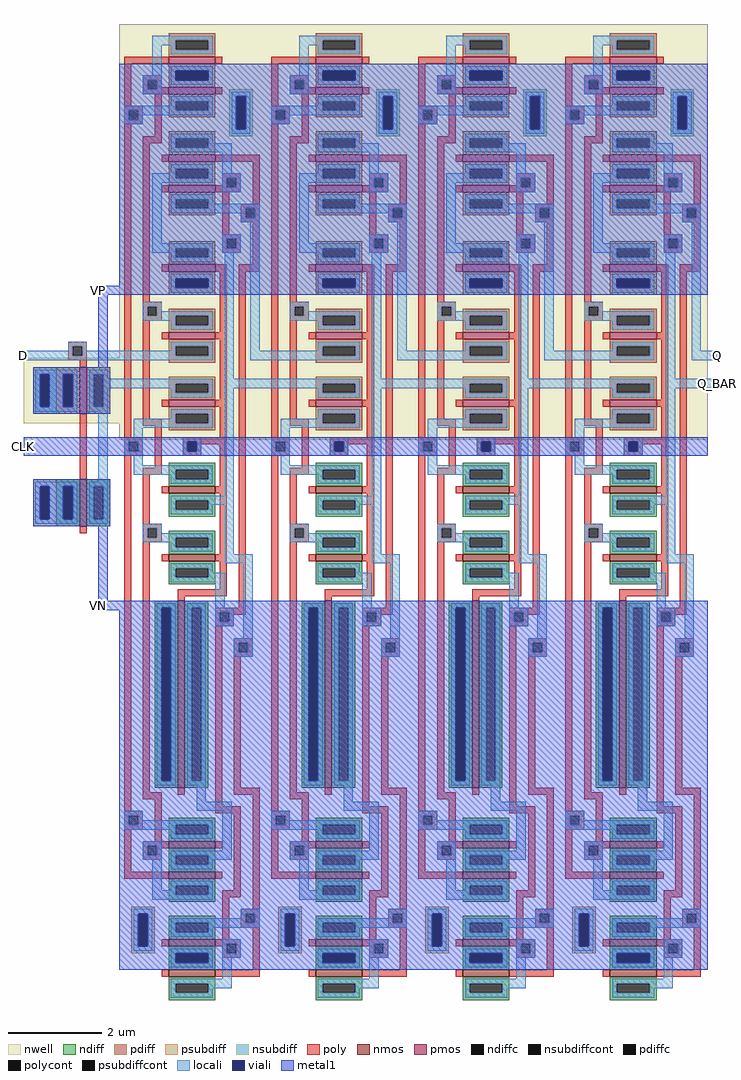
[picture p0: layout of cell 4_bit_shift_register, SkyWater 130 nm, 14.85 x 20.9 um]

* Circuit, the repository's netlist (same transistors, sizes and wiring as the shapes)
* NGSPICE file created from 4_bit_shift_register.ext - technology: sky130A

.subckt crsl_d_flip_flop D D_BAR Q Q_BAR VP VN CLK
X0 VP a_n70_n2490# a_n150_n2570# VP sky130_fd_pr__pfet_01v8 ad=0.25 pd=1.5 as=0.5 ps=3 w=1 l=0.15
X1 a_n150_n2570# CLK Q_BAR VN sky130_fd_pr__nfet_01v8 ad=0.5 pd=3 as=0.5 ps=3 w=1 l=0.15
X2 a_n70_n2490# CLK Q VN sky130_fd_pr__nfet_01v8 ad=0.5 pd=3 as=0.5 ps=3 w=1 l=0.15
X3 D_BAR CLK a_n150_n2570# VP sky130_fd_pr__pfet_01v8 ad=0.5 pd=3 as=0.5 ps=3 w=1 l=0.15
X4 a_40_n2540# CLK VN VN sky130_fd_pr__nfet_01v8 ad=2 pd=9 as=2 ps=9 w=4 l=0.15
X5 a_40_60# CLK VP VP sky130_fd_pr__pfet_01v8 ad=0.5 pd=3 as=0.5 ps=3 w=1 l=0.15
X6 a_40_n2540# a_n150_n2570# a_n70_n2490# VN sky130_fd_pr__nfet_01v8 ad=0.25 pd=1.5 as=0.5 ps=3 w=1 l=0.15
X7 Q_BAR Q a_40_60# VP sky130_fd_pr__pfet_01v8 ad=0.5 pd=3 as=0.25 ps=1.5 w=1 l=0.15
X8 VN Q_BAR Q VN sky130_fd_pr__nfet_01v8 ad=0.25 pd=1.5 as=0.5 ps=3 w=1 l=0.15
X9 a_n70_n2490# a_n150_n2570# VP VP sky130_fd_pr__pfet_01v8 ad=0.5 pd=3 as=0.25 ps=1.5 w=1 l=0.15
X10 a_n150_n2570# a_n70_n2490# a_40_n2540# VN sky130_fd_pr__nfet_01v8 ad=0.5 pd=3 as=0.25 ps=1.5 w=1 l=0.15
X11 Q_BAR Q VN VN sky130_fd_pr__nfet_01v8 ad=0.5 pd=3 as=0.25 ps=1.5 w=1 l=0.15
X12 a_n70_n2490# CLK D VP sky130_fd_pr__pfet_01v8 ad=0.5 pd=3 as=0.5 ps=3 w=1 l=0.15
X13 a_40_60# Q_BAR Q VP sky130_fd_pr__pfet_01v8 ad=0.25 pd=1.5 as=0.5 ps=3 w=1 l=0.15
.ends

.subckt inverter A Y VP VN
X0 Y A VN VN sky130_fd_pr__nfet_01v8 ad=0.5 pd=3 as=0.5 ps=3 w=1 l=0.15
X1 Y A VP VP sky130_fd_pr__pfet_01v8 ad=0.5 pd=3 as=0.5 ps=3 w=1 l=0.15
.ends


* Top level circuit 4_bit_shift_register

Xcrsl_d_flip_flop_0 inverter_0/A inverter_0/Y crsl_d_flip_flop_1/D crsl_d_flip_flop_1/D_BAR
+ VP VN CLK crsl_d_flip_flop
Xcrsl_d_flip_flop_1 crsl_d_flip_flop_1/D crsl_d_flip_flop_1/D_BAR crsl_d_flip_flop_2/D
+ crsl_d_flip_flop_2/D_BAR VP VN CLK crsl_d_flip_flop
Xinverter_0 inverter_0/A inverter_0/Y VP VN inverter
Xcrsl_d_flip_flop_2 crsl_d_flip_flop_2/D crsl_d_flip_flop_2/D_BAR crsl_d_flip_flop_3/D
+ crsl_d_flip_flop_3/D_BAR VP VN CLK crsl_d_flip_flop
Xcrsl_d_flip_flop_3 crsl_d_flip_flop_3/D crsl_d_flip_flop_3/D_BAR Q Q_BAR VP VN CLK
+ crsl_d_flip_flop
.end

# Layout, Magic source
magic
tech sky130A
<< locali >>
rect -75 1335 -5 1355
rect 1255 1335 1275 1355
rect -30 1275 -5 1295
rect 1255 1275 1275 1295
<< metal1 >>
rect -50 1475 -5 1495
rect -50 1320 -30 1475
rect -210 1130 -5 1170
rect -50 820 -30 980
rect -50 800 -5 820
use crsl_d_flip_flop  crsl_d_flip_flop_0
transform 1 0 80 0 1 1510
box -85 -1545 230 545
use crsl_d_flip_flop  crsl_d_flip_flop_1
transform 1 0 395 0 1 1510
box -85 -1545 230 545
use crsl_d_flip_flop  crsl_d_flip_flop_2
transform 1 0 710 0 1 1510
box -85 -1545 230 545
use crsl_d_flip_flop  crsl_d_flip_flop_3
transform 1 0 1025 0 1 1510
box -85 -1545 230 545
use inverter  inverter_0
transform 1 0 -95 0 1 1075
box -115 -110 90 300
<< labels >>
rlabel metal1 -50 1485 -50 1485 7 VP
rlabel metal1 -50 810 -50 810 7 VN
rlabel metal1 -210 1150 -210 1150 7 CLK
rlabel locali 1275 1285 1275 1285 3 Q_BAR
rlabel locali 1275 1345 1275 1345 3 Q
rlabel space -210 1345 -210 1345 7 D
<< end >>

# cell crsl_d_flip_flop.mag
magic
tech sky130A
<< nwell >>
rect -85 -345 230 545
<< nmos >>
rect 20 -460 120 -445
rect 20 -605 120 -590
rect 40 -1090 55 -690
rect 20 -1220 120 -1205
rect 20 -1285 120 -1270
rect 20 -1430 120 -1415
rect 20 -1495 120 -1480
<< pmos >>
rect 20 460 120 475
rect 20 395 120 410
rect 20 250 120 265
rect 20 185 120 200
rect 20 15 120 30
rect 20 -130 120 -115
rect 20 -275 120 -260
<< ndiff >>
rect 20 -410 120 -395
rect 20 -430 35 -410
rect 105 -430 120 -410
rect 20 -445 120 -430
rect 20 -475 120 -460
rect 20 -495 35 -475
rect 105 -495 120 -475
rect 20 -510 120 -495
rect 20 -555 120 -540
rect 20 -575 35 -555
rect 105 -575 120 -555
rect 20 -590 120 -575
rect 20 -620 120 -605
rect 20 -640 35 -620
rect 105 -640 120 -620
rect 20 -655 120 -640
rect -10 -705 40 -690
rect -10 -1075 5 -705
rect 25 -1075 40 -705
rect -10 -1090 40 -1075
rect 55 -705 105 -690
rect 55 -1075 70 -705
rect 90 -1075 105 -705
rect 55 -1090 105 -1075
rect 20 -1170 120 -1155
rect 20 -1190 35 -1170
rect 105 -1190 120 -1170
rect 20 -1205 120 -1190
rect 20 -1235 120 -1220
rect 20 -1255 35 -1235
rect 105 -1255 120 -1235
rect 20 -1270 120 -1255
rect 20 -1300 120 -1285
rect 20 -1320 35 -1300
rect 105 -1320 120 -1300
rect 20 -1335 120 -1320
rect 20 -1380 120 -1365
rect 20 -1400 35 -1380
rect 105 -1400 120 -1380
rect 20 -1415 120 -1400
rect 20 -1445 120 -1430
rect 20 -1465 35 -1445
rect 105 -1465 120 -1445
rect 20 -1480 120 -1465
rect 20 -1510 120 -1495
rect 20 -1530 35 -1510
rect 105 -1530 120 -1510
rect 20 -1545 120 -1530
<< pdiff >>
rect 20 510 120 525
rect 20 490 35 510
rect 105 490 120 510
rect 20 475 120 490
rect 20 445 120 460
rect 20 425 35 445
rect 105 425 120 445
rect 20 410 120 425
rect 20 380 120 395
rect 20 360 35 380
rect 105 360 120 380
rect 20 345 120 360
rect 20 300 120 315
rect 20 280 35 300
rect 105 280 120 300
rect 20 265 120 280
rect 20 235 120 250
rect 20 215 35 235
rect 105 215 120 235
rect 20 200 120 215
rect 20 170 120 185
rect 20 150 35 170
rect 105 150 120 170
rect 20 135 120 150
rect 20 65 120 80
rect 20 45 35 65
rect 105 45 120 65
rect 20 30 120 45
rect 20 0 120 15
rect 20 -20 35 0
rect 105 -20 120 0
rect 20 -35 120 -20
rect 20 -80 120 -65
rect 20 -100 35 -80
rect 105 -100 120 -80
rect 20 -115 120 -100
rect 20 -145 120 -130
rect 20 -165 35 -145
rect 105 -165 120 -145
rect 20 -180 120 -165
rect 20 -225 120 -210
rect 20 -245 35 -225
rect 105 -245 120 -225
rect 20 -260 120 -245
rect 20 -290 120 -275
rect 20 -310 35 -290
rect 105 -310 120 -290
rect 20 -325 120 -310
<< ndiffc >>
rect 35 -430 105 -410
rect 35 -495 105 -475
rect 35 -575 105 -555
rect 35 -640 105 -620
rect 5 -1075 25 -705
rect 70 -1075 90 -705
rect 35 -1190 105 -1170
rect 35 -1255 105 -1235
rect 35 -1320 105 -1300
rect 35 -1400 105 -1380
rect 35 -1465 105 -1445
rect 35 -1530 105 -1510
<< pdiffc >>
rect 35 490 105 510
rect 35 425 105 445
rect 35 360 105 380
rect 35 280 105 300
rect 35 215 105 235
rect 35 150 105 170
rect 35 45 105 65
rect 35 -20 105 0
rect 35 -100 105 -80
rect 35 -165 105 -145
rect 35 -245 105 -225
rect 35 -310 105 -290
<< psubdiff >>
rect -60 -1360 -10 -1345
rect -60 -1430 -45 -1360
rect -25 -1430 -10 -1360
rect -60 -1445 -10 -1430
<< nsubdiff >>
rect 150 390 200 405
rect 150 320 165 390
rect 185 320 200 390
rect 150 305 200 320
<< psubdiffcont >>
rect -45 -1430 -25 -1360
<< nsubdiffcont >>
rect 165 320 185 390
<< poly >>
rect -75 460 20 475
rect 120 460 135 475
rect -75 370 -60 460
rect -35 425 5 435
rect -35 405 -25 425
rect -5 410 5 425
rect -5 405 20 410
rect -35 395 20 405
rect 120 395 135 410
rect -75 360 -35 370
rect -75 340 -65 360
rect -45 340 -35 360
rect -75 330 -35 340
rect -75 -340 -60 330
rect -10 305 5 395
rect -35 290 5 305
rect -35 -50 -20 290
rect 5 250 20 265
rect 120 250 215 265
rect 135 215 175 225
rect 135 200 145 215
rect 5 185 20 200
rect 120 195 145 200
rect 165 195 175 215
rect 120 185 175 195
rect 135 95 150 185
rect 200 160 215 250
rect 175 150 215 160
rect 175 130 185 150
rect 205 130 215 150
rect 175 120 215 130
rect 135 85 175 95
rect 135 65 145 85
rect 165 65 175 85
rect 135 55 175 65
rect 200 30 215 120
rect 5 15 20 30
rect 120 15 145 30
rect -35 -60 5 -50
rect -35 -80 -25 -60
rect -5 -80 5 -60
rect -35 -90 5 -80
rect -35 -300 -20 -90
rect 130 -115 145 15
rect 5 -130 20 -115
rect 120 -130 145 -115
rect 130 -260 145 -130
rect 5 -275 20 -260
rect 120 -275 145 -260
rect -35 -315 5 -300
rect -75 -350 -35 -340
rect -75 -370 -65 -350
rect -45 -370 -35 -350
rect -75 -380 -35 -370
rect -75 -1140 -60 -380
rect -10 -405 5 -315
rect 130 -340 145 -275
rect 50 -350 145 -340
rect 50 -370 60 -350
rect 80 -355 145 -350
rect 80 -370 90 -355
rect 50 -380 90 -370
rect -35 -420 5 -405
rect -35 -525 -20 -420
rect 130 -445 145 -355
rect 5 -460 20 -445
rect 120 -460 145 -445
rect -35 -535 5 -525
rect -35 -555 -25 -535
rect -5 -555 5 -535
rect -35 -565 5 -555
rect -35 -1100 -20 -565
rect 130 -590 145 -460
rect 5 -605 20 -590
rect 120 -605 145 -590
rect 130 -665 145 -605
rect 40 -680 145 -665
rect 170 15 215 30
rect 40 -690 55 -680
rect 170 -705 185 15
rect 120 -715 185 -705
rect 120 -735 130 -715
rect 150 -720 185 -715
rect 150 -735 160 -720
rect 120 -745 160 -735
rect -35 -1115 5 -1100
rect 40 -1105 55 -1090
rect -75 -1150 -35 -1140
rect -75 -1170 -65 -1150
rect -45 -1170 -35 -1150
rect -75 -1180 -35 -1170
rect -75 -1270 -60 -1180
rect -10 -1205 5 -1115
rect 120 -1130 135 -745
rect 160 -780 200 -770
rect 160 -800 170 -780
rect 190 -800 200 -780
rect 160 -810 200 -800
rect 160 -1090 175 -810
rect 160 -1105 215 -1090
rect 120 -1145 175 -1130
rect -35 -1215 20 -1205
rect -35 -1235 -25 -1215
rect -5 -1220 20 -1215
rect 120 -1220 135 -1205
rect -5 -1235 5 -1220
rect -35 -1245 5 -1235
rect -75 -1285 20 -1270
rect 120 -1285 135 -1270
rect 160 -1310 175 -1145
rect 135 -1325 175 -1310
rect 135 -1415 150 -1325
rect 200 -1350 215 -1105
rect 175 -1360 215 -1350
rect 175 -1380 185 -1360
rect 205 -1380 215 -1360
rect 175 -1390 215 -1380
rect 5 -1430 20 -1415
rect 120 -1425 175 -1415
rect 120 -1430 145 -1425
rect 135 -1445 145 -1430
rect 165 -1445 175 -1425
rect 135 -1455 175 -1445
rect 200 -1480 215 -1390
rect 5 -1495 20 -1480
rect 120 -1495 215 -1480
<< polycont >>
rect -25 405 -5 425
rect -65 340 -45 360
rect 145 195 165 215
rect 185 130 205 150
rect 145 65 165 85
rect -25 -80 -5 -60
rect -65 -370 -45 -350
rect 60 -370 80 -350
rect -25 -555 -5 -535
rect 130 -735 150 -715
rect -65 -1170 -45 -1150
rect 170 -800 190 -780
rect -25 -1235 -5 -1215
rect 185 -1380 205 -1360
rect 145 -1445 165 -1425
<< locali >>
rect -15 510 115 520
rect -15 500 35 510
rect -15 435 5 500
rect 25 490 35 500
rect 105 490 115 510
rect 25 480 115 490
rect -35 425 5 435
rect -35 405 -25 425
rect -5 405 5 425
rect 25 445 115 455
rect 25 425 35 445
rect 105 425 115 445
rect 25 415 115 425
rect -35 395 5 405
rect 155 390 195 400
rect 25 380 115 390
rect 25 370 35 380
rect -75 360 35 370
rect 105 360 115 380
rect -75 340 -65 360
rect -45 350 115 360
rect -45 340 -35 350
rect -75 330 -35 340
rect 155 320 165 390
rect 185 320 195 390
rect 155 310 195 320
rect 25 300 115 310
rect 25 280 35 300
rect 105 290 115 300
rect 105 280 155 290
rect 25 270 155 280
rect 25 235 115 245
rect 25 225 35 235
rect -15 215 35 225
rect 105 215 115 235
rect -15 205 115 215
rect 135 225 155 270
rect 135 215 175 225
rect -15 75 5 205
rect 135 195 145 215
rect 165 195 175 215
rect 135 185 175 195
rect 25 170 115 180
rect 25 150 35 170
rect 105 160 115 170
rect 105 150 215 160
rect 25 140 185 150
rect 175 130 185 140
rect 205 130 215 150
rect 175 120 215 130
rect 135 85 175 95
rect -15 65 115 75
rect -15 55 35 65
rect 25 45 35 55
rect 105 45 115 65
rect 135 65 145 85
rect 165 65 175 85
rect 135 55 175 65
rect 25 35 115 45
rect 25 0 115 10
rect 25 -20 35 0
rect 105 -20 115 0
rect 25 -30 115 -20
rect -35 -60 5 -50
rect -35 -80 -25 -60
rect -5 -70 5 -60
rect -5 -80 115 -70
rect -35 -90 35 -80
rect 25 -100 35 -90
rect 105 -100 115 -80
rect 25 -110 115 -100
rect 25 -145 115 -135
rect 25 -155 35 -145
rect -85 -165 35 -155
rect 105 -165 115 -145
rect -85 -175 115 -165
rect 140 -215 160 55
rect 195 -155 215 120
rect 195 -175 230 -155
rect -85 -225 115 -215
rect -85 -235 35 -225
rect 25 -245 35 -235
rect 105 -245 115 -225
rect 25 -255 115 -245
rect 140 -235 230 -215
rect 25 -290 115 -280
rect 25 -300 35 -290
rect -55 -310 35 -300
rect 105 -310 115 -290
rect -55 -320 115 -310
rect -55 -340 -35 -320
rect -75 -350 -35 -340
rect -75 -370 -65 -350
rect -45 -370 -35 -350
rect -75 -380 -35 -370
rect 50 -350 90 -340
rect 50 -370 60 -350
rect 80 -370 90 -350
rect 50 -380 90 -370
rect -55 -400 -35 -380
rect -55 -410 115 -400
rect -55 -420 35 -410
rect 25 -430 35 -420
rect 105 -430 115 -410
rect 25 -440 115 -430
rect 140 -465 160 -235
rect 25 -475 160 -465
rect 25 -495 35 -475
rect 105 -485 160 -475
rect 105 -495 115 -485
rect 25 -505 115 -495
rect -35 -535 5 -525
rect -35 -555 -25 -535
rect -5 -545 5 -535
rect -5 -555 115 -545
rect -35 -565 35 -555
rect 25 -575 35 -565
rect 105 -575 115 -555
rect 25 -585 115 -575
rect 140 -590 160 -485
rect 140 -610 200 -590
rect 25 -620 115 -610
rect 25 -640 35 -620
rect 105 -630 115 -620
rect 105 -640 140 -630
rect 25 -650 140 -640
rect -5 -705 35 -695
rect -5 -1075 5 -705
rect 25 -1075 35 -705
rect -5 -1085 35 -1075
rect 60 -705 100 -695
rect 60 -1075 70 -705
rect 90 -1075 100 -705
rect 120 -705 140 -650
rect 120 -715 160 -705
rect 120 -735 130 -715
rect 150 -735 160 -715
rect 120 -745 160 -735
rect 180 -770 200 -610
rect 160 -780 200 -770
rect 160 -800 170 -780
rect 190 -800 200 -780
rect 160 -810 200 -800
rect 60 -1085 100 -1075
rect 80 -1120 100 -1085
rect 80 -1140 155 -1120
rect -75 -1150 -35 -1140
rect -75 -1170 -65 -1150
rect -45 -1160 -35 -1150
rect -45 -1170 115 -1160
rect -75 -1180 35 -1170
rect 25 -1190 35 -1180
rect 105 -1190 115 -1170
rect 25 -1200 115 -1190
rect -35 -1215 5 -1205
rect -35 -1235 -25 -1215
rect -5 -1235 5 -1215
rect 135 -1225 155 -1140
rect -35 -1245 5 -1235
rect -15 -1310 5 -1245
rect 25 -1235 155 -1225
rect 25 -1255 35 -1235
rect 105 -1245 155 -1235
rect 105 -1255 115 -1245
rect 25 -1265 115 -1255
rect 25 -1300 115 -1290
rect 25 -1310 35 -1300
rect -15 -1320 35 -1310
rect 105 -1320 115 -1300
rect -15 -1330 115 -1320
rect -55 -1360 -15 -1350
rect -55 -1430 -45 -1360
rect -25 -1430 -15 -1360
rect 175 -1360 215 -1350
rect 175 -1370 185 -1360
rect 25 -1380 185 -1370
rect 205 -1380 215 -1360
rect 25 -1400 35 -1380
rect 105 -1390 215 -1380
rect 105 -1400 115 -1390
rect 25 -1410 115 -1400
rect -55 -1440 -15 -1430
rect 135 -1425 175 -1415
rect 25 -1445 115 -1435
rect 25 -1465 35 -1445
rect 105 -1465 115 -1445
rect 25 -1475 115 -1465
rect 135 -1445 145 -1425
rect 165 -1445 175 -1425
rect 135 -1455 175 -1445
rect 135 -1500 155 -1455
rect 25 -1510 155 -1500
rect 25 -1530 35 -1510
rect 105 -1520 155 -1510
rect 105 -1530 115 -1520
rect 25 -1540 115 -1530
<< viali >>
rect 35 425 105 445
rect 165 320 185 390
rect 35 -20 105 0
rect 60 -370 80 -350
rect 5 -1075 25 -705
rect -45 -1430 -25 -1360
rect 35 -1465 105 -1445
<< metal1 >>
rect -85 445 230 460
rect -85 425 35 445
rect 105 425 230 445
rect -85 390 230 425
rect -85 320 165 390
rect 185 320 230 390
rect -85 0 230 320
rect -85 -20 35 0
rect 105 -20 230 0
rect -85 -35 230 -20
rect -85 -350 230 -340
rect -85 -370 60 -350
rect 80 -370 230 -350
rect -85 -380 230 -370
rect -85 -705 230 -690
rect -85 -1075 5 -705
rect 25 -1075 230 -705
rect -85 -1360 230 -1075
rect -85 -1430 -45 -1360
rect -25 -1430 230 -1360
rect -85 -1445 230 -1430
rect -85 -1465 35 -1445
rect 105 -1465 230 -1445
rect -85 -1480 230 -1465
<< labels >>
rlabel locali 230 -165 230 -165 3 Q
port 3 e
rlabel locali 230 -225 230 -225 3 Q_BAR
port 4 e
rlabel locali -85 -225 -85 -225 7 D_BAR
port 2 w
rlabel locali -85 -165 -85 -165 7 D
port 1 w
rlabel metal1 -85 225 -85 225 7 VP
port 6 w
rlabel metal1 -85 -1090 -85 -1090 7 VN
port 7 w
rlabel metal1 -85 -360 -85 -360 7 CLK
port 9 w
<< end >>

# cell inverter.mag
magic
tech sky130A
<< nwell >>
rect -115 125 90 265
<< nmos >>
rect 5 -95 20 5
<< pmos >>
rect 5 145 20 245
<< ndiff >>
rect -45 -10 5 5
rect -45 -80 -30 -10
rect -10 -80 5 -10
rect -45 -95 5 -80
rect 20 -10 70 5
rect 20 -80 35 -10
rect 55 -80 70 -10
rect 20 -95 70 -80
<< pdiff >>
rect -45 230 5 245
rect -45 160 -30 230
rect -10 160 5 230
rect -45 145 5 160
rect 20 230 70 245
rect 20 160 35 230
rect 55 160 70 230
rect 20 145 70 160
<< ndiffc >>
rect -30 -80 -10 -10
rect 35 -80 55 -10
<< pdiffc >>
rect -30 160 -10 230
rect 35 160 55 230
<< psubdiff >>
rect -95 -10 -45 5
rect -95 -80 -80 -10
rect -60 -80 -45 -10
rect -95 -95 -45 -80
<< nsubdiff >>
rect -95 230 -45 245
rect -95 160 -80 230
rect -60 160 -45 230
rect -95 145 -45 160
<< psubdiffcont >>
rect -80 -80 -60 -10
<< nsubdiffcont >>
rect -80 160 -60 230
<< poly >>
rect -20 290 20 300
rect -20 270 -10 290
rect 10 270 20 290
rect -20 260 20 270
rect 5 245 20 260
rect 5 5 20 145
rect 5 -110 20 -95
<< polycont >>
rect -10 270 10 290
<< locali >>
rect -20 290 20 300
rect -20 280 -10 290
rect -115 270 -10 280
rect 10 270 20 290
rect -115 260 20 270
rect -90 230 0 240
rect -90 160 -80 230
rect -60 160 -30 230
rect -10 160 0 230
rect -90 150 0 160
rect 25 230 65 240
rect 25 160 35 230
rect 55 220 65 230
rect 55 200 90 220
rect 55 160 65 200
rect 25 150 65 160
rect 45 0 65 150
rect -90 -10 0 0
rect -90 -80 -80 -10
rect -60 -80 -30 -10
rect -10 -80 0 -10
rect -90 -90 0 -80
rect 25 -10 65 0
rect 25 -80 35 -10
rect 55 -80 65 -10
rect 25 -90 65 -80
<< viali >>
rect -80 160 -60 230
rect -30 160 -10 230
rect -80 -80 -60 -10
rect -30 -80 -10 -10
<< metal1 >>
rect -95 230 70 245
rect -95 160 -80 230
rect -60 160 -30 230
rect -10 160 70 230
rect -95 145 70 160
rect -95 -10 70 5
rect -95 -80 -80 -10
rect -60 -80 -30 -10
rect -10 -80 70 -10
rect -95 -95 70 -80
<< labels >>
rlabel locali -115 270 -115 270 7 A
port 1 w
rlabel locali 90 210 90 210 3 Y
port 2 e
rlabel metal1 -95 -45 -95 -45 7 VN
port 4 w
rlabel metal1 -95 195 -95 195 7 VP
port 3 w
<< end >>
